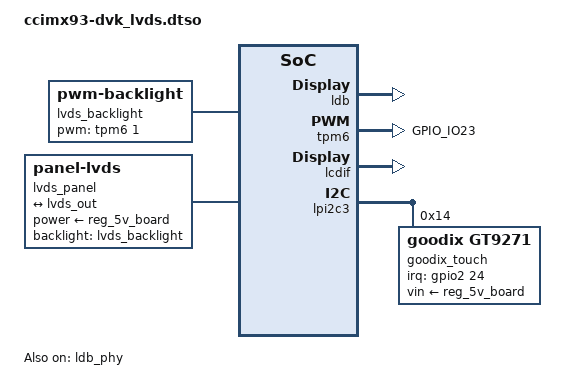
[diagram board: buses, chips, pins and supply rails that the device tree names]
/*
 * Copyright 2022-2026 Digi International Inc.
 *
 * Permission to use, copy, modify, and/or distribute this software for any
 * purpose with or without fee is hereby granted, provided that the above
 * copyright notice and this permission notice appear in all copies.
 * THE SOFTWARE IS PROVIDED "AS IS" AND THE AUTHOR DISCLAIMS ALL WARRANTIES
 * WITH REGARD TO THIS SOFTWARE INCLUDING ALL IMPLIED WARRANTIES OF
 * MERCHANTABILITY AND FITNESS. IN NO EVENT SHALL THE AUTHOR BE LIABLE FOR
 * ANY SPECIAL, DIRECT, INDIRECT, OR CONSEQUENTIAL DAMAGES OR ANY DAMAGES
 * WHATSOEVER RESULTING FROM LOSS OF USE, DATA OR PROFITS, WHETHER IN AN
 * ACTION OF CONTRACT, NEGLIGENCE OR OTHER TORTIOUS ACTION, ARISING OUT OF
 * OR IN CONNECTION WITH THE USE OR PERFORMANCE OF THIS SOFTWARE.
 */

/dts-v1/;
/plugin/;

#include <dt-bindings/gpio/gpio.h>
#include <dt-bindings/interrupt-controller/arm-gic.h>

#include "../freescale/imx93-pinfunc.h"

/ {
	fragment@0 {
		target-path = "/";
		__overlay__ {
			overlay-description = "DVK: AUO 10.1 LVDS display";

			lvds_backlight: lvds_backlight {
				compatible = "pwm-backlight";
				pwms = <&tpm6 1 50000 0>;
				brightness-levels = <0 20 25 30 35 40 100>;
				default-brightness-level = <6>;
				status = "okay";
			};

			lvds_panel: lvds_panel {
				compatible = "panel-lvds";
				status = "okay";
				backlight = <&lvds_backlight>;
				power-supply = <&reg_5v_board>;
				data-mapping = "jeida-24";
				de-high;
				width-mm = <216>;
				height-mm = <135>;

				/* AUO G101EVN01.0 */
				panel-timing {
					clock-frequency = <68930000>;
					hactive = <1280>;
					vactive = <800>;
					hfront-porch = <120>;
					hback-porch = <2>;
					hsync-len = <8>;
					vback-porch = <10>;
					vfront-porch = <2>;
					vsync-len = <6>;
					hsync-active = <1>;
					vsync-active = <1>;
				};

				port {
					panel_lvds_in: endpoint {
						remote-endpoint = <&lvds_out>;
					};
				};
			};
		};
	};

	/* Disable the HDMI bridge */
	fragment@1 {
		target = <&lt_bridge>;
		__overlay__ {
			status = "disabled";
		};
	};
	/* Disable MIPI DSI phy */
	fragment@2 {
		target = <&dphy>;
		__overlay__ {
			status = "disabled";
		};
	};

	/* Disable MIPI DSI */
	fragment@3 {
		target = <&dsi>;
		__overlay__ {
			status = "disabled";
		};
	};

	/* Enable the LVDS bridge */
	fragment@4 {
		target = <&ldb>;
		__overlay__ {
			#address-cells = <1>;
			#size-cells = <0>;
			status = "okay";

			lvds-channel@0 {
				#address-cells = <1>;
				#size-cells = <0>;
				status = "okay";

				port@1 {
					reg = <1>;

					lvds_out: endpoint {
						remote-endpoint = <&panel_lvds_in>;
					};
				};
			};
		};
	};

	/* Enable the LVDS phy */
	fragment@5 {
		target = <&ldb_phy>;
		__overlay__ {
			status = "okay";
		};
	};

	/* Enable the LVDS backlight PWM */
	fragment@6 {
		target = <&tpm6>;
		__overlay__ {
			pinctrl-names = "default";
			pinctrl-0 = <&pinctrl_tpm6>;
			status = "okay";
		};
	};

	/* Enable the lvds_backlight */
	fragment@7 {
		target = <&lvds_backlight>;
		__overlay__ {
			status = "okay";
		};
	};

	/* Adjust lcdif clock */
	fragment@8 {
		target = <&lcdif>;
		__overlay__ {
			status = "okay";
			assigned-clock-rates = <498000000>, <68930000>, <400000000>, <133333333>;
		};
	};

	/* Enable goodix_touch */
	fragment@9 {
		target = <&lpi2c3>;
		__overlay__ {
			#address-cells = <1>;
			#size-cells = <0>;
			status = "okay";

			goodix_touch: gt9271@14 {
				compatible = "goodix,gt9271";
				reg = <0x14>;
				pinctrl-names = "default";
				pinctrl-0 = <&pinctrl_touch>;
				/* LVDS interrupt */
				interrupt-parent = <&gpio2>;
				interrupts = <24 IRQ_TYPE_EDGE_FALLING>;
				irq-gpios = <&gpio2 24 GPIO_ACTIVE_HIGH>;
				reload-fw-on-resume;
				skip-firmware-request;
				vin-supply = <&reg_5v_board>;
				status = "okay";
			};
		};
	};

	fragment@10 {
		target = <&iomuxc>;
		__overlay__ {
			/* LVDS touch interface IOs */
			pinctrl_touch: touchgrp {
				fsl,pins = <
					/* LVDS touch interrupt */
					MX93_PAD_GPIO_IO24__GPIO2_IO24		0x31e
				>;
			};

			/* LVDS PWM backlight */
			pinctrl_tpm6: tpm6grp {
				fsl,pins = <
					MX93_PAD_GPIO_IO23__TPM6_CH1		0x19e
				>;
			};

		};
	};
};
